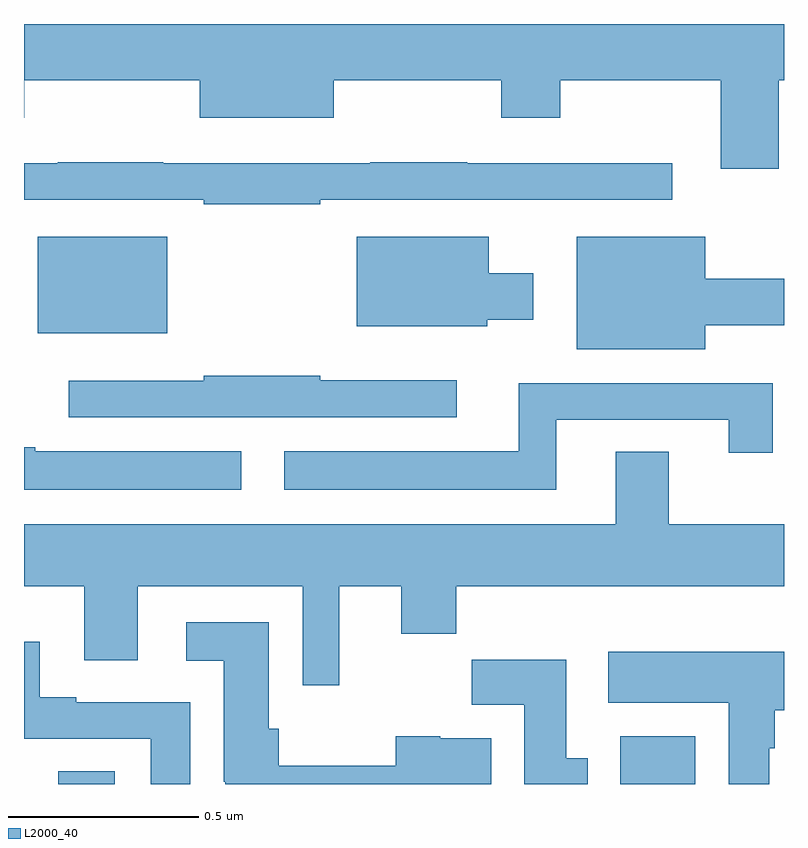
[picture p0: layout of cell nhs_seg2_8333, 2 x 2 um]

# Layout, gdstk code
import gdstk
lib = gdstk.Library(unit=1e-6, precision=1e-09)
def R(c, l, rs):  # rectangles x0, y0, x1, y1
    for r in rs: c.add(gdstk.rectangle(r[:2], r[2:], *l))
def P(c, l, *ps):  # polygons
    for p in ps: c.add(gdstk.Polygon(p, *l))
L2000_40 = (2000, 40)

nhs_seg2_8333 = lib.new_cell('nhs_seg2_8333')
R(nhs_seg2_8333, L2000_40, [(215.09,629.8,215.239,629.834), (216.569,629.8,216.766,629.926), (215.036,630.986,215.377,631.24)])
P(nhs_seg2_8333, L2000_40, [(216.986,631.652),(217,631.652),(217,631.8),(215,631.8),(215,631.553),(215.001,631.553),(215.001,631.652),(215.462,631.652),(215.462,631.553),(215.815,631.553),(215.815,631.652),(216.256,631.652),(216.256,631.553),(216.411,631.553),(216.411,631.652),(216.833,631.652),(216.833,631.419),(216.986,631.419)],
  [(215.78,631.338),(216.706,631.338),(216.706,631.434),(216.167,631.434),(216.167,631.436),(215.911,631.436),(215.911,631.434),(215.366,631.434),(215.366,631.436),(215.089,631.436),(215.089,631.434),(215,631.434),(215,631.338),(215.473,631.338),(215.473,631.326),(215.78,631.326)],
  [(216.219,631.022),(216.34,631.022),(216.34,631.144),(216.223,631.144),(216.223,631.24),(215.876,631.24),(215.876,631.004),(216.219,631.004)],
  [(216.793,631.007),(217,631.007),(217,631.129),(216.793,631.129),(216.793,631.24),(216.455,631.24),(216.455,630.944),(216.793,630.944)],
  [(216.139,630.862),(215.78,630.862),(215.78,630.874),(215.473,630.874),(215.473,630.861),(215.118,630.861),(215.118,630.765),(216.139,630.765)],
  [(216.4,630.759),(216.854,630.759),(216.854,630.672),(216.971,630.672),(216.971,630.855),(216.302,630.855),(216.302,630.676),(215.685,630.676),(215.685,630.575),(216.4,630.575)],
  [(215.572,630.676),(215.03,630.676),(215.03,630.686),(215,630.686),(215,630.575),(215.572,630.575)],
  [(215.83,630.32),(215.993,630.32),(215.993,630.196),(216.137,630.196),(216.137,630.32),(217,630.32),(217,630.484),(216.697,630.484),(216.697,630.674),(216.557,630.674),(216.557,630.484),(215,630.484),(215,630.32),(215.159,630.32),(215.159,630.126),(215.299,630.126),(215.299,630.32),(215.733,630.32),(215.733,630.06),(215.83,630.06)],
  [(216.229,629.92),(216.096,629.92),(216.096,629.926),(215.978,629.926),(215.978,629.848),(215.67,629.848),(215.67,629.946),(215.644,629.946),(215.644,630.226),(215.427,630.226),(215.427,630.125),(215.525,630.125),(215.525,629.806),(215.529,629.806),(215.529,629.8),(216.229,629.8)],
  [(215.437,630.015),(215.137,630.015),(215.137,630.028),(215.041,630.028),(215.041,630.175),(215,630.175),(215,629.919),(215.333,629.919),(215.333,629.8),(215.437,629.8)],
  [(216.961,629.894),(216.976,629.894),(216.976,629.994),(217,629.994),(217,630.148),(216.537,630.148),(216.537,630.014),(216.854,630.014),(216.854,629.8),(216.961,629.8)],
  [(216.484,629.868),(216.427,629.868),(216.427,630.127),(216.178,630.127),(216.178,630.008),(216.317,630.008),(216.317,629.8),(216.484,629.8)])

lib.write_gds('nhs_seg2_8333.gds')
